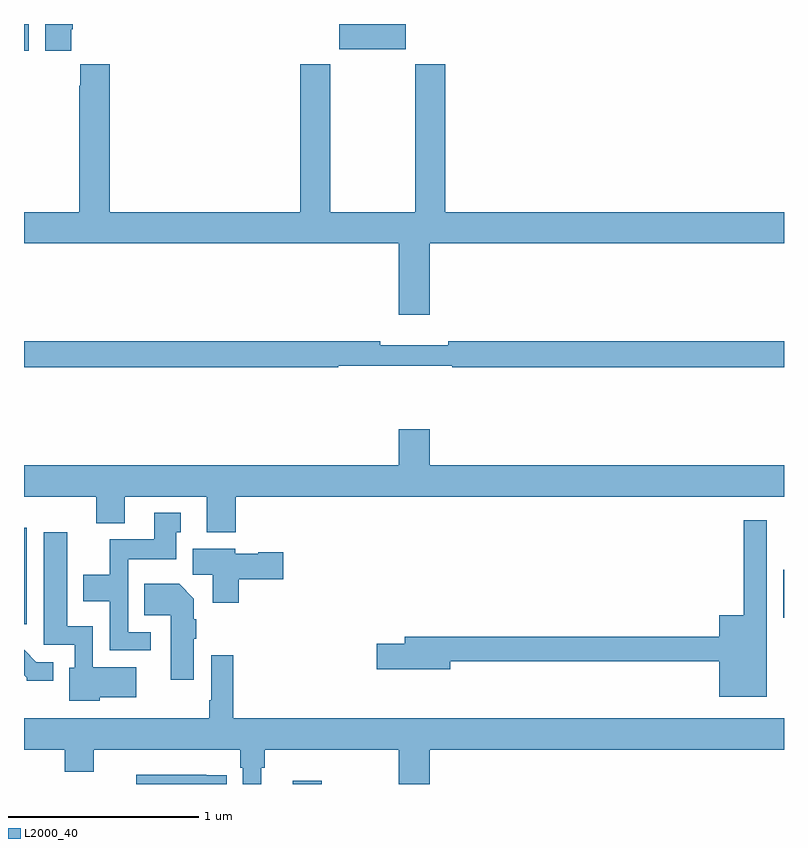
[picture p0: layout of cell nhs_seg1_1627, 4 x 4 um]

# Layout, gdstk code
import gdstk
lib = gdstk.Library(unit=1e-6, precision=1e-09)
def R(c, l, rs):  # rectangles x0, y0, x1, y1
    for r in rs: c.add(gdstk.rectangle(r[:2], r[2:], *l))
def P(c, l, *ps):  # polygons
    for p in ps: c.add(gdstk.Polygon(p, *l))
L2000_40 = (2000, 40)

nhs_seg1_1627 = lib.new_cell('nhs_seg1_1627')
R(nhs_seg1_1627, L2000_40, [(200.414,570.199,200.568,570.217), (199,571.041,199.015,571.549), (202.997,571.073,203,571.327), (199,574.059,199.024,574.199), (200.66,574.067,201.01,574.199)])
P(nhs_seg1_1627, L2000_40, [(199.249,574.171),(199.256,574.171),(199.256,574.199),(199.112,574.199),(199.112,574.059),(199.249,574.059)],
  [(201.136,573.044),(203,573.044),(203,573.208),(201.218,573.208),(201.218,573.988),(201.058,573.988),(201.058,573.208),(200.613,573.208),(200.613,573.988),(200.453,573.988),(200.453,573.208),(199.451,573.208),(199.451,573.988),(199.295,573.988),(199.295,573.875),(199.291,573.875),(199.291,573.208),(199,573.208),(199,573.044),(200.972,573.044),(200.972,572.67),(201.136,572.67)],
  [(200.655,572.4),(201.255,572.4),(201.255,572.392),(203,572.392),(203,572.528),(201.232,572.528),(201.232,572.509),(200.876,572.509),(200.876,572.528),(199,572.528),(199,572.392),(200.655,572.392)],
  [(200.114,571.712),(203,571.712),(203,571.876),(201.136,571.876),(201.136,572.065),(200.972,572.065),(200.972,571.876),(199,571.876),(199,571.712),(199.379,571.712),(199.379,571.571),(199.531,571.571),(199.531,571.712),(199.961,571.712),(199.961,571.523),(200.114,571.523)],
  [(199.666,570.999),(199.548,570.999),(199.548,571.382),(199.801,571.382),(199.801,571.524),(199.825,571.524),(199.825,571.627),(199.685,571.627),(199.685,571.486),(199.45,571.486),(199.45,571.3),(199.313,571.3),(199.313,571.16),(199.452,571.16),(199.452,570.903),(199.666,570.903)],
  [(202.909,571.588),(202.788,571.588),(202.788,571.087),(202.658,571.087),(202.658,570.974),(201.005,570.974),(201.005,570.938),(200.856,570.938),(200.856,570.803),(201.244,570.803),(201.244,570.846),(202.658,570.846),(202.658,570.659),(202.909,570.659)],
  [(199.398,570.656),(199.591,570.656),(199.591,570.814),(199.362,570.814),(199.362,571.03),(199.228,571.03),(199.228,571.525),(199.103,571.525),(199.103,570.933),(199.266,570.933),(199.266,570.81),(199.238,570.81),(199.238,570.638),(199.398,570.638)],
  [(200.129,571.277),(200.365,571.277),(200.365,571.419),(200.232,571.419),(200.232,571.411),(200.112,571.411),(200.112,571.438),(199.889,571.438),(199.889,571.3),(199.994,571.3),(199.994,571.152),(200.129,571.152)],
  [(199.894,570.964),(199.907,570.964),(199.907,571.067),(199.894,571.067),(199.894,571.174),(199.816,571.252),(199.633,571.252),(199.633,571.088),(199.772,571.088),(199.772,570.747),(199.894,570.747)],
  [(199.153,570.84),(199.065,570.84),(199,570.905),(199,570.772),(199.014,570.758),(199.014,570.743),(199.153,570.743)],
  [(200.248,570.284),(200.267,570.284),(200.267,570.38),(200.972,570.38),(200.972,570.199),(201.136,570.199),(201.136,570.38),(203,570.38),(203,570.544),(200.102,570.544),(200.102,570.877),(199.986,570.877),(199.986,570.64),(199.974,570.64),(199.974,570.544),(199,570.544),(199,570.38),(199.214,570.38),(199.214,570.263),(199.366,570.263),(199.366,570.38),(200.138,570.38),(200.138,570.284),(200.151,570.284),(200.151,570.199),(200.248,570.199)],
  [(200.066,570.246),(199.958,570.246),(199.958,570.247),(199.59,570.247),(199.59,570.199),(200.066,570.199)])

lib.write_gds('nhs_seg1_1627.gds')
